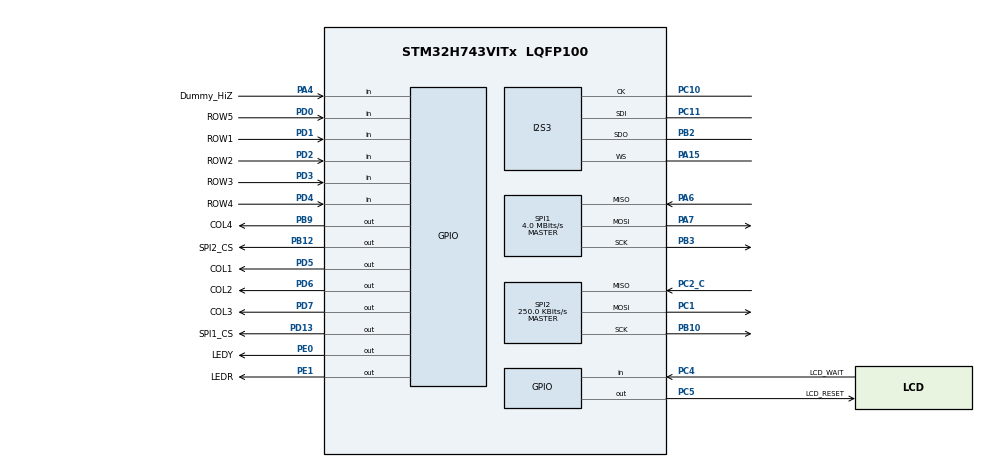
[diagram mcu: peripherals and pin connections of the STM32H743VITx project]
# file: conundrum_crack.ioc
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CORTEX_M7.default_mode_Activation=0
Dma.Request0=SPI3_TX
Dma.SPI3_TX.0.Direction=DMA_MEMORY_TO_PERIPH
Dma.SPI3_TX.0.EventEnable=DISABLE
Dma.SPI3_TX.0.FIFOMode=DMA_FIFOMODE_DISABLE
Dma.SPI3_TX.0.Instance=DMA1_Stream0
Dma.SPI3_TX.0.MemDataAlignment=DMA_MDATAALIGN_HALFWORD
Dma.SPI3_TX.0.MemInc=DMA_MINC_ENABLE
Dma.SPI3_TX.0.Mode=DMA_NORMAL
Dma.SPI3_TX.0.PeriphDataAlignment=DMA_PDATAALIGN_HALFWORD
Dma.SPI3_TX.0.PeriphInc=DMA_PINC_DISABLE
Dma.SPI3_TX.0.Polarity=HAL_DMAMUX_REQ_GEN_RISING
Dma.SPI3_TX.0.Priority=DMA_PRIORITY_LOW
Dma.SPI3_TX.0.RequestNumber=1
Dma.SPI3_TX.0.SignalID=NONE
Dma.SPI3_TX.0.SyncEnable=DISABLE
Dma.SPI3_TX.0.SyncPolarity=HAL_DMAMUX_SYNC_NO_EVENT
Dma.SPI3_TX.0.SyncRequestNumber=1
Dma.SPI3_TX.0.SyncSignalID=NONE
I2S3.AudioFreq=I2S_AUDIOFREQ_44K
I2S3.ErrorAudioFreq=3.3 %
I2S3.Instance=SPI$Index
I2S3.RealAudioFreq=45.454 KHz
Mcu.Family=STM32H7
Mcu.Name=STM32H743VITx
Mcu.Package=LQFP100
NVIC.DMA1_Stream0_IRQn=true\:0\:0\:false\:false\:true\:false\:true\:true
NVIC.PriorityGroup=NVIC_PRIORITYGROUP_4
NVIC.TIM6_DAC_IRQn=true\:1\:0\:true\:false\:true\:true\:true\:true
NVIC.TIM7_IRQn=true\:3\:0\:true\:false\:true\:true\:true\:true
PA13\ (JTMS/SWDIO).Mode=Serial_Wire
PA13\ (JTMS/SWDIO).Signal=DEBUG_JTMS-SWDIO
PA14\ (JTCK/SWCLK).Mode=Serial_Wire
PA14\ (JTCK/SWCLK).Signal=DEBUG_JTCK-SWCLK
PA15\ (JTDI).Mode=Full_Duplex_Master
PA15\ (JTDI).Signal=I2S3_WS
PA4.GPIO_Label=Dummy_HiZ
PA4.Signal=GPIO_Input
PA6.GPIO_Speed=GPIO_SPEED_FREQ_VERY_HIGH
PA6.Mode=Full_Duplex_Master
PA6.Signal=SPI1_MISO
PA7.GPIO_Speed=GPIO_SPEED_FREQ_VERY_HIGH
PA7.Mode=Full_Duplex_Master
PA7.Signal=SPI1_MOSI
PB10.GPIO_Speed=GPIO_SPEED_FREQ_VERY_HIGH
PB10.Mode=Full_Duplex_Master
PB10.Signal=SPI2_SCK
PB12.GPIO_Label=SPI2_CS
PB12.GPIO_PuPd=GPIO_NOPULL
PB12.GPIO_Speed=GPIO_SPEED_FREQ_VERY_HIGH
PB12.PinState=GPIO_PIN_SET
PB12.Signal=GPIO_Output
PB2.Mode=Full_Duplex_Master
PB2.Signal=I2S3_SDO
PB3\ (JTDO/TRACESWO).GPIO_Speed=GPIO_SPEED_FREQ_VERY_HIGH
PB3\ (JTDO/TRACESWO).Mode=Full_Duplex_Master
PB3\ (JTDO/TRACESWO).Signal=SPI1_SCK
PB9.GPIO_Label=COL4
PB9.Signal=GPIO_Output
PC1.GPIO_Speed=GPIO_SPEED_FREQ_VERY_HIGH
PC1.Mode=Full_Duplex_Master
PC1.Signal=SPI2_MOSI
PC10.Mode=Full_Duplex_Master
PC10.Signal=I2S3_CK
PC11.Mode=Full_Duplex_Master
PC11.Signal=I2S3_SDI
PC2_C.GPIO_Speed=GPIO_SPEED_FREQ_VERY_HIGH
PC2_C.Mode=Full_Duplex_Master
PC2_C.Signal=SPI2_MISO
PC4.GPIO_Label=LCD_WAIT
PC4.Signal=GPIO_Input
PC5.GPIO_Label=LCD_RESET
PC5.GPIO_PuPd=GPIO_PULLDOWN
PC5.Signal=GPIO_Output
PD0.GPIO_Label=ROW5
PD0.GPIO_PuPd=GPIO_PULLUP
PD0.Signal=GPIO_Input
PD1.GPIO_Label=ROW1
PD1.GPIO_PuPd=GPIO_PULLUP
PD1.Signal=GPIO_Input
PD13.GPIO_Label=SPI1_CS
PD13.GPIO_Speed=GPIO_SPEED_FREQ_VERY_HIGH
PD13.PinState=GPIO_PIN_SET
PD13.Signal=GPIO_Output
PD2.GPIO_Label=ROW2
PD2.GPIO_PuPd=GPIO_PULLUP
PD2.Signal=GPIO_Input
PD3.GPIO_Label=ROW3
PD3.GPIO_PuPd=GPIO_PULLUP
PD3.Signal=GPIO_Input
PD4.GPIO_Label=ROW4
PD4.GPIO_PuPd=GPIO_PULLUP
PD4.Signal=GPIO_Input
PD5.GPIO_Label=COL1
PD5.PinState=GPIO_PIN_RESET
PD5.Signal=GPIO_Output
PD6.GPIO_Label=COL2
PD6.Signal=GPIO_Output
PD7.GPIO_Label=COL3
PD7.Signal=GPIO_Output
PE0.GPIO_Label=LEDY
PE0.Signal=GPIO_Output
PE1.GPIO_Label=LEDR
PE1.Signal=GPIO_Output
ProjectManager.HeapSize=0x200
ProjectManager.StackSize=0x400
ProjectManager.TargetToolchain=STM32CubeIDE
RCC.ADCFreq_Value=32250000
RCC.APB1Freq_Value=16000000
RCC.APB2Freq_Value=16000000
RCC.APB3Freq_Value=16000000
RCC.APB4Freq_Value=16000000
RCC.CortexFreq_Value=16000000
RCC.DIVM1=4
RCC.DIVN1=75
RCC.DIVQ1=4
RCC.DIVR1=3
RCC.HCLKFreq_Value=16000000
RCC.HSE_VALUE=16000000
RCC.HSIDiv=RCC_PLLSAIDIVR_4
RCC.PLL2FRACN=0
RCC.PLL3FRACN=0
RCC.PLLFRACN=0
RCC.SPI123CLockSelection=RCC_SPI123CLKSOURCE_CLKP
RCC.SYSCLKFreq_VALUE=16000000
RCC.USBFreq_Value=75000000
SPI1.BaudRatePrescaler=SPI_BAUDRATEPRESCALER_4
SPI1.CLKPhase=SPI_PHASE_2EDGE
SPI1.CLKPolarity=SPI_POLARITY_HIGH
SPI1.CalculateBaudRate=4.0 MBits/s
SPI1.DataSize=SPI_DATASIZE_8BIT
SPI1.Direction=SPI_DIRECTION_2LINES
SPI1.Mode=SPI_MODE_MASTER
SPI1.NSSPMode=SPI_NSS_PULSE_ENABLE
SPI1.VirtualType=VM_MASTER
SPI2.BaudRatePrescaler=SPI_BAUDRATEPRESCALER_64
SPI2.CalculateBaudRate=250.0 KBits/s
SPI2.DataSize=SPI_DATASIZE_8BIT
SPI2.Direction=SPI_DIRECTION_2LINES
SPI2.FifoThreshold=SPI_FIFO_THRESHOLD_01DATA
SPI2.Mode=SPI_MODE_MASTER
SPI2.NSSPMode=SPI_NSS_PULSE_ENABLE
SPI2.VirtualType=VM_MASTER
TIM6.AutoReloadPreload=TIM_AUTORELOAD_PRELOAD_ENABLE
TIM6.Period=999
TIM6.Prescaler=15999
TIM6.TIM_MasterOutputTrigger=TIM_TRGO_UPDATE
TIM7.AutoReloadPreload=TIM_AUTORELOAD_PRELOAD_ENABLE
TIM7.Period=99
TIM7.Prescaler=1599
TIM7.TIM_MasterOutputTrigger=TIM_TRGO_UPDATE
VP_FATFS_VS_Generic.Mode=User_defined
VP_MEMORYMAP_VS_MEMORYMAP.Mode=CurAppReg
VP_TIM6_VS_ClockSourceINT.Mode=Enable_Timer
VP_TIM7_VS_ClockSourceINT.Mode=Enable_Timer
board=custom

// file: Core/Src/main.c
/* USER CODE BEGIN Header */
/**
  ******************************************************************************
  * @file           : main.c
  * @brief          : Main program body
  ******************************************************************************
  * @attention
  *
  * Copyright (c) 2024 STMicroelectronics.
  * All rights reserved.
  *
  * This software is licensed under terms that can be found in the LICENSE file
  * in the root directory of this software component.
  * If no LICENSE file comes with this software, it is provided AS-IS.
  *
  ******************************************************************************
  */
/* USER CODE END Header */
#include "main.h"
#include "fatfs.h"

/* USER CODE BEGIN Includes */
#include "RA8875.h"
#include "keyboard_io.h"
#include "game_engine.h"
#include "fatfs_sd_card.h"
#include "audio_out.h"
/* USER CODE END Includes */

I2S_HandleTypeDef hi2s3;
DMA_HandleTypeDef hdma_spi3_tx;

SPI_HandleTypeDef hspi1;
SPI_HandleTypeDef hspi2;

TIM_HandleTypeDef htim6;
TIM_HandleTypeDef htim7;

/* USER CODE BEGIN PV */
Game_HandleTypeDef hgame;
/* USER CODE END PV */

void SystemClock_Config(void);
void PeriphCommonClock_Config(void);
static void MX_GPIO_Init(void);
static void MX_DMA_Init(void);
static void MX_SPI1_Init(void);
static void MX_SPI2_Init(void);
static void MX_TIM6_Init(void);
static void MX_I2S3_Init(void);
static void MX_TIM7_Init(void);

int main(void)
{

  /* USER CODE BEGIN 1 */
  int k;
  /* USER CODE END 1 */

  /* MCU Configuration--------------------------------------------------------*/

  /* Reset of all peripherals, Initializes the Flash interface and the Systick. */
  HAL_Init();

  /* Configure the system clock */
  SystemClock_Config();

  /* Configure the peripherals common clocks */
  PeriphCommonClock_Config();

  /* Initialize all configured peripherals */
  MX_GPIO_Init();
  MX_DMA_Init();
  MX_SPI1_Init();
  MX_SPI2_Init();
  MX_FATFS_Init();
  MX_TIM6_Init();
  MX_I2S3_Init();
  MX_TIM7_Init();
  /* USER CODE BEGIN 2 */

  //Init display with 480x272 and set color as 16-bit per pixel
  RA8875_begin(LCD_RESET_GPIO_Port,LCD_RESET_Pin,LCD_WAIT_GPIO_Port,LCD_WAIT_Pin,RA8875_800x480,RA8875_16BPP);

  //Power on the dispaly
  RA8875_display_on(1);

  //Backlight on
  RA8875_pwm1_config(1,RA8875_PWM_CLK_DIV1);

  mount_sd();

  init_game(&hgame);

  show_menu(&hgame);

//  HAL_TIM_Base_Start_IT(&htim7);
  /* USER CODE END 2 */

  /* Infinite loop */
  /* USER CODE BEGIN WHILE */
  while (1)
  {
	k = read_keypad();
	process_input(&hgame, k);
//	HAL_Delay(10);

    /* USER CODE END WHILE */

  }
}

void SystemClock_Config(void)
{
  RCC_OscInitTypeDef RCC_OscInitStruct = {0};
  RCC_ClkInitTypeDef RCC_ClkInitStruct = {0};

  /** Supply configuration update enable
  */
  HAL_PWREx_ConfigSupply(PWR_LDO_SUPPLY);

  /** Configure the main internal regulator output voltage
  */
  __HAL_PWR_VOLTAGESCALING_CONFIG(PWR_REGULATOR_VOLTAGE_SCALE3);

  while(!__HAL_PWR_GET_FLAG(PWR_FLAG_VOSRDY)) {}

  /** Initializes the RCC Oscillators according to the specified parameters
  * in the RCC_OscInitTypeDef structure.
  */
  RCC_OscInitStruct.OscillatorType = RCC_OSCILLATORTYPE_HSI;
  RCC_OscInitStruct.HSIState = RCC_HSI_DIV4;
  RCC_OscInitStruct.HSICalibrationValue = RCC_HSICALIBRATION_DEFAULT;
  RCC_OscInitStruct.PLL.PLLState = RCC_PLL_NONE;
  if (HAL_RCC_OscConfig(&RCC_OscInitStruct) != HAL_OK)
  {
    Error_Handler();
  }

  /** Initializes the CPU, AHB and APB buses clocks
  */
  RCC_ClkInitStruct.ClockType = RCC_CLOCKTYPE_HCLK|RCC_CLOCKTYPE_SYSCLK
                              |RCC_CLOCKTYPE_PCLK1|RCC_CLOCKTYPE_PCLK2
                              |RCC_CLOCKTYPE_D3PCLK1|RCC_CLOCKTYPE_D1PCLK1;
  RCC_ClkInitStruct.SYSCLKSource = RCC_SYSCLKSOURCE_HSI;
  RCC_ClkInitStruct.SYSCLKDivider = RCC_SYSCLK_DIV1;
  RCC_ClkInitStruct.AHBCLKDivider = RCC_HCLK_DIV1;
  RCC_ClkInitStruct.APB3CLKDivider = RCC_APB3_DIV1;
  RCC_ClkInitStruct.APB1CLKDivider = RCC_APB1_DIV1;
  RCC_ClkInitStruct.APB2CLKDivider = RCC_APB2_DIV1;
  RCC_ClkInitStruct.APB4CLKDivider = RCC_APB4_DIV1;

  if (HAL_RCC_ClockConfig(&RCC_ClkInitStruct, FLASH_LATENCY_0) != HAL_OK)
  {
    Error_Handler();
  }
}

void PeriphCommonClock_Config(void)
{
  RCC_PeriphCLKInitTypeDef PeriphClkInitStruct = {0};

  /** Initializes the peripherals clock
  */
  PeriphClkInitStruct.PeriphClockSelection = RCC_PERIPHCLK_CKPER;
  PeriphClkInitStruct.CkperClockSelection = RCC_CLKPSOURCE_HSI;
  if (HAL_RCCEx_PeriphCLKConfig(&PeriphClkInitStruct) != HAL_OK)
  {
    Error_Handler();
  }
}

static void MX_I2S3_Init(void)
{

  hi2s3.Instance = SPI3;
  hi2s3.Init.Mode = I2S_MODE_MASTER_FULLDUPLEX;
  hi2s3.Init.Standard = I2S_STANDARD_PHILIPS;
  hi2s3.Init.DataFormat = I2S_DATAFORMAT_16B;
  hi2s3.Init.MCLKOutput = I2S_MCLKOUTPUT_DISABLE;
  hi2s3.Init.AudioFreq = I2S_AUDIOFREQ_44K;
  hi2s3.Init.CPOL = I2S_CPOL_LOW;
  hi2s3.Init.FirstBit = I2S_FIRSTBIT_MSB;
  hi2s3.Init.WSInversion = I2S_WS_INVERSION_DISABLE;
  hi2s3.Init.Data24BitAlignment = I2S_DATA_24BIT_ALIGNMENT_RIGHT;
  hi2s3.Init.MasterKeepIOState = I2S_MASTER_KEEP_IO_STATE_DISABLE;
  if (HAL_I2S_Init(&hi2s3) != HAL_OK)
  {
    Error_Handler();
  }

}

static void MX_SPI1_Init(void)
{

  /* SPI1 parameter configuration*/
  hspi1.Instance = SPI1;
  hspi1.Init.Mode = SPI_MODE_MASTER;
  hspi1.Init.Direction = SPI_DIRECTION_2LINES;
  hspi1.Init.DataSize = SPI_DATASIZE_8BIT;
  hspi1.Init.CLKPolarity = SPI_POLARITY_HIGH;
  hspi1.Init.CLKPhase = SPI_PHASE_2EDGE;
  hspi1.Init.NSS = SPI_NSS_SOFT;
  hspi1.Init.BaudRatePrescaler = SPI_BAUDRATEPRESCALER_4;
  hspi1.Init.FirstBit = SPI_FIRSTBIT_MSB;
  hspi1.Init.TIMode = SPI_TIMODE_DISABLE;
  hspi1.Init.CRCCalculation = SPI_CRCCALCULATION_DISABLE;
  hspi1.Init.CRCPolynomial = 0x0;
  hspi1.Init.NSSPMode = SPI_NSS_PULSE_ENABLE;
  hspi1.Init.NSSPolarity = SPI_NSS_POLARITY_LOW;
  hspi1.Init.FifoThreshold = SPI_FIFO_THRESHOLD_01DATA;
  hspi1.Init.TxCRCInitializationPattern = SPI_CRC_INITIALIZATION_ALL_ZERO_PATTERN;
  hspi1.Init.RxCRCInitializationPattern = SPI_CRC_INITIALIZATION_ALL_ZERO_PATTERN;
  hspi1.Init.MasterSSIdleness = SPI_MASTER_SS_IDLENESS_00CYCLE;
  hspi1.Init.MasterInterDataIdleness = SPI_MASTER_INTERDATA_IDLENESS_00CYCLE;
  hspi1.Init.MasterReceiverAutoSusp = SPI_MASTER_RX_AUTOSUSP_DISABLE;
  hspi1.Init.MasterKeepIOState = SPI_MASTER_KEEP_IO_STATE_DISABLE;
  hspi1.Init.IOSwap = SPI_IO_SWAP_DISABLE;
  if (HAL_SPI_Init(&hspi1) != HAL_OK)
  {
    Error_Handler();
  }

}

static void MX_SPI2_Init(void)
{

  /* SPI2 parameter configuration*/
  hspi2.Instance = SPI2;
  hspi2.Init.Mode = SPI_MODE_MASTER;
  hspi2.Init.Direction = SPI_DIRECTION_2LINES;
  hspi2.Init.DataSize = SPI_DATASIZE_8BIT;
  hspi2.Init.CLKPolarity = SPI_POLARITY_LOW;
  hspi2.Init.CLKPhase = SPI_PHASE_1EDGE;
  hspi2.Init.NSS = SPI_NSS_SOFT;
  hspi2.Init.BaudRatePrescaler = SPI_BAUDRATEPRESCALER_64;
  hspi2.Init.FirstBit = SPI_FIRSTBIT_MSB;
  hspi2.Init.TIMode = SPI_TIMODE_DISABLE;
  hspi2.Init.CRCCalculation = SPI_CRCCALCULATION_DISABLE;
  hspi2.Init.CRCPolynomial = 0x0;
  hspi2.Init.NSSPMode = SPI_NSS_PULSE_ENABLE;
  hspi2.Init.NSSPolarity = SPI_NSS_POLARITY_LOW;
  hspi2.Init.FifoThreshold = SPI_FIFO_THRESHOLD_01DATA;
  hspi2.Init.TxCRCInitializationPattern = SPI_CRC_INITIALIZATION_ALL_ZERO_PATTERN;
  hspi2.Init.RxCRCInitializationPattern = SPI_CRC_INITIALIZATION_ALL_ZERO_PATTERN;
  hspi2.Init.MasterSSIdleness = SPI_MASTER_SS_IDLENESS_00CYCLE;
  hspi2.Init.MasterInterDataIdleness = SPI_MASTER_INTERDATA_IDLENESS_00CYCLE;
  hspi2.Init.MasterReceiverAutoSusp = SPI_MASTER_RX_AUTOSUSP_DISABLE;
  hspi2.Init.MasterKeepIOState = SPI_MASTER_KEEP_IO_STATE_DISABLE;
  hspi2.Init.IOSwap = SPI_IO_SWAP_DISABLE;
  if (HAL_SPI_Init(&hspi2) != HAL_OK)
  {
    Error_Handler();
  }

}

static void MX_TIM6_Init(void)
{

  TIM_MasterConfigTypeDef sMasterConfig = {0};

  htim6.Instance = TIM6;
  htim6.Init.Prescaler = 15999;
  htim6.Init.CounterMode = TIM_COUNTERMODE_UP;
  htim6.Init.Period = 999;
  htim6.Init.AutoReloadPreload = TIM_AUTORELOAD_PRELOAD_ENABLE;
  if (HAL_TIM_Base_Init(&htim6) != HAL_OK)
  {
    Error_Handler();
  }
  sMasterConfig.MasterOutputTrigger = TIM_TRGO_UPDATE;
  sMasterConfig.MasterSlaveMode = TIM_MASTERSLAVEMODE_DISABLE;
  if (HAL_TIMEx_MasterConfigSynchronization(&htim6, &sMasterConfig) != HAL_OK)
  {
    Error_Handler();
  }

}

static void MX_TIM7_Init(void)
{

  TIM_MasterConfigTypeDef sMasterConfig = {0};

  htim7.Instance = TIM7;
  htim7.Init.Prescaler = 1599;
  htim7.Init.CounterMode = TIM_COUNTERMODE_UP;
  htim7.Init.Period = 99;
  htim7.Init.AutoReloadPreload = TIM_AUTORELOAD_PRELOAD_ENABLE;
  if (HAL_TIM_Base_Init(&htim7) != HAL_OK)
  {
    Error_Handler();
  }
  sMasterConfig.MasterOutputTrigger = TIM_TRGO_UPDATE;
  sMasterConfig.MasterSlaveMode = TIM_MASTERSLAVEMODE_DISABLE;
  if (HAL_TIMEx_MasterConfigSynchronization(&htim7, &sMasterConfig) != HAL_OK)
  {
    Error_Handler();
  }

}

static void MX_DMA_Init(void)
{

  /* DMA controller clock enable */
  __HAL_RCC_DMA1_CLK_ENABLE();

  /* DMA interrupt init */
  /* DMA1_Stream0_IRQn interrupt configuration */
  HAL_NVIC_SetPriority(DMA1_Stream0_IRQn, 0, 0);
  HAL_NVIC_EnableIRQ(DMA1_Stream0_IRQn);

}

static void MX_GPIO_Init(void)
{
  GPIO_InitTypeDef GPIO_InitStruct = {0};

  /* GPIO Ports Clock Enable */
  __HAL_RCC_GPIOC_CLK_ENABLE();
  __HAL_RCC_GPIOA_CLK_ENABLE();
  __HAL_RCC_GPIOB_CLK_ENABLE();
  __HAL_RCC_GPIOD_CLK_ENABLE();
  __HAL_RCC_GPIOE_CLK_ENABLE();

  /*Configure GPIO pin Output Level */
  HAL_GPIO_WritePin(LCD_RESET_GPIO_Port, LCD_RESET_Pin, GPIO_PIN_RESET);

  /*Configure GPIO pin Output Level */
  HAL_GPIO_WritePin(SPI2_CS_GPIO_Port, SPI2_CS_Pin, GPIO_PIN_SET);

  /*Configure GPIO pin Output Level */
  HAL_GPIO_WritePin(SPI1_CS_GPIO_Port, SPI1_CS_Pin, GPIO_PIN_SET);

  /*Configure GPIO pin Output Level */
  HAL_GPIO_WritePin(GPIOD, COL1_Pin|COL2_Pin|COL3_Pin, GPIO_PIN_RESET);

  /*Configure GPIO pin Output Level */
  HAL_GPIO_WritePin(COL4_GPIO_Port, COL4_Pin, GPIO_PIN_RESET);

  /*Configure GPIO pin Output Level */
  HAL_GPIO_WritePin(GPIOE, LEDY_Pin|LEDR_Pin, GPIO_PIN_RESET);

  /*Configure GPIO pin : Dummy_HiZ_Pin */
  GPIO_InitStruct.Pin = Dummy_HiZ_Pin;
  GPIO_InitStruct.Mode = GPIO_MODE_INPUT;
  GPIO_InitStruct.Pull = GPIO_NOPULL;
  HAL_GPIO_Init(Dummy_HiZ_GPIO_Port, &GPIO_InitStruct);

  /*Configure GPIO pin : LCD_WAIT_Pin */
  GPIO_InitStruct.Pin = LCD_WAIT_Pin;
  GPIO_InitStruct.Mode = GPIO_MODE_INPUT;
  GPIO_InitStruct.Pull = GPIO_NOPULL;
  HAL_GPIO_Init(LCD_WAIT_GPIO_Port, &GPIO_InitStruct);

  /*Configure GPIO pin : LCD_RESET_Pin */
  GPIO_InitStruct.Pin = LCD_RESET_Pin;
  GPIO_InitStruct.Mode = GPIO_MODE_OUTPUT_PP;
  GPIO_InitStruct.Pull = GPIO_PULLDOWN;
  GPIO_InitStruct.Speed = GPIO_SPEED_FREQ_LOW;
  HAL_GPIO_Init(LCD_RESET_GPIO_Port, &GPIO_InitStruct);

  /*Configure GPIO pin : SPI2_CS_Pin */
  GPIO_InitStruct.Pin = SPI2_CS_Pin;
  GPIO_InitStruct.Mode = GPIO_MODE_OUTPUT_PP;
  GPIO_InitStruct.Pull = GPIO_NOPULL;
  GPIO_InitStruct.Speed = GPIO_SPEED_FREQ_VERY_HIGH;
  HAL_GPIO_Init(SPI2_CS_GPIO_Port, &GPIO_InitStruct);

  /*Configure GPIO pin : SPI1_CS_Pin */
  GPIO_InitStruct.Pin = SPI1_CS_Pin;
  GPIO_InitStruct.Mode = GPIO_MODE_OUTPUT_PP;
  GPIO_InitStruct.Pull = GPIO_NOPULL;
  GPIO_InitStruct.Speed = GPIO_SPEED_FREQ_VERY_HIGH;
  HAL_GPIO_Init(SPI1_CS_GPIO_Port, &GPIO_InitStruct);

  /*Configure GPIO pins : ROW5_Pin ROW1_Pin ROW2_Pin ROW3_Pin
                           ROW4_Pin */
  GPIO_InitStruct.Pin = ROW5_Pin|ROW1_Pin|ROW2_Pin|ROW3_Pin
                          |ROW4_Pin;
  GPIO_InitStruct.Mode = GPIO_MODE_INPUT;
  GPIO_InitStruct.Pull = GPIO_PULLUP;
  HAL_GPIO_Init(GPIOD, &GPIO_InitStruct);

  /*Configure GPIO pins : COL1_Pin COL2_Pin COL3_Pin */
  GPIO_InitStruct.Pin = COL1_Pin|COL2_Pin|COL3_Pin;
  GPIO_InitStruct.Mode = GPIO_MODE_OUTPUT_PP;
  GPIO_InitStruct.Pull = GPIO_NOPULL;
  GPIO_InitStruct.Speed = GPIO_SPEED_FREQ_LOW;
  HAL_GPIO_Init(GPIOD, &GPIO_InitStruct);

  /*Configure GPIO pin : COL4_Pin */
  GPIO_InitStruct.Pin = COL4_Pin;
  GPIO_InitStruct.Mode = GPIO_MODE_OUTPUT_PP;
  GPIO_InitStruct.Pull = GPIO_NOPULL;
  GPIO_InitStruct.Speed = GPIO_SPEED_FREQ_LOW;
  HAL_GPIO_Init(COL4_GPIO_Port, &GPIO_InitStruct);

  /*Configure GPIO pins : LEDY_Pin LEDR_Pin */
  GPIO_InitStruct.Pin = LEDY_Pin|LEDR_Pin;
  GPIO_InitStruct.Mode = GPIO_MODE_OUTPUT_PP;
  GPIO_InitStruct.Pull = GPIO_NOPULL;
  GPIO_InitStruct.Speed = GPIO_SPEED_FREQ_LOW;
  HAL_GPIO_Init(GPIOE, &GPIO_InitStruct);

}

void Error_Handler(void)
{
  __disable_irq();
  while (1)
  {
  }
}
